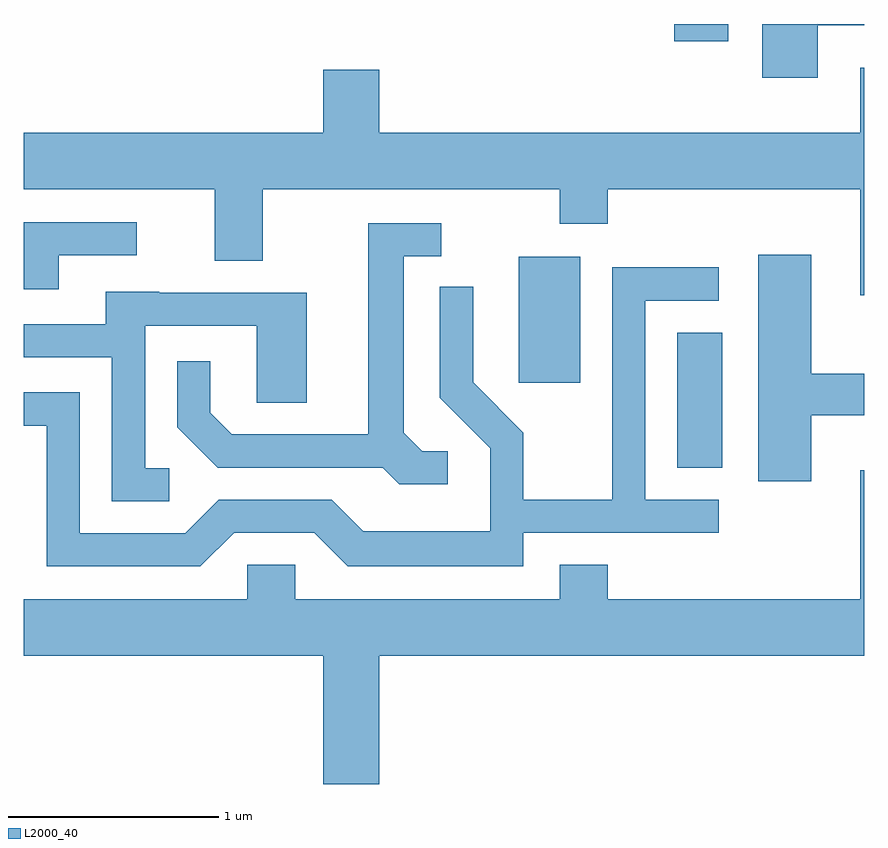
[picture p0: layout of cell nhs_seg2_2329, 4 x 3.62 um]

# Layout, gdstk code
import gdstk
lib = gdstk.Library(unit=1e-6, precision=1e-09)
def R(c, l, rs):  # rectangles x0, y0, x1, y1
    for r in rs: c.add(gdstk.rectangle(r[:2], r[2:], *l))
def P(c, l, *ps):  # polygons
    for p in ps: c.add(gdstk.Polygon(p, *l))
L2000_40 = (2000, 40)

nhs_seg2_2329 = lib.new_cell('nhs_seg2_2329')
R(nhs_seg2_2329, L2000_40, [(256.721,1013.691,256.934,1014.334), (255.966,1014.096,256.259,1014.694), (256.706,1015.721,256.964,1015.802)])
P(nhs_seg2_2329, L2000_40, [(257.389,1015.796),(257.611,1015.796),(257.611,1015.802),(257.126,1015.802),(257.126,1015.546),(257.389,1015.546)],
  [(257.611,1015.594),(257.591,1015.594),(257.591,1015.284),(255.304,1015.284),(255.304,1015.584),(255.036,1015.584),(255.036,1015.284),(253.611,1015.284),(253.611,1015.016),(254.521,1015.016),(254.521,1014.676),(254.749,1014.676),(254.749,1015.016),(256.161,1015.016),(256.161,1014.851),(256.389,1014.851),(256.389,1015.016),(257.591,1015.016),(257.591,1014.511),(257.611,1014.511)],
  [(253.779,1014.701),(254.148,1014.701),(254.148,1014.859),(253.611,1014.859),(253.611,1014.541),(253.779,1014.541)],
  [(255.628,1013.769),(255.507,1013.769),(255.419,1013.857),(255.419,1014.696),(255.598,1014.696),(255.598,1014.854),(255.251,1014.854),(255.251,1013.849),(254.602,1013.849),(254.499,1013.952),(254.499,1014.198),(254.341,1014.198),(254.341,1013.884),(254.534,1013.691),(255.319,1013.691),(255.399,1013.611),(255.628,1013.611)],
  [(257.359,1013.941),(257.611,1013.941),(257.611,1014.139),(257.359,1014.139),(257.359,1014.704),(257.106,1014.704),(257.106,1013.626),(257.359,1013.626)],
  [(254.612,1013.381),(254.994,1013.381),(255.154,1013.221),(255.989,1013.221),(255.989,1013.381),(256.918,1013.381),(256.918,1013.539),(256.569,1013.539),(256.569,1014.486),(256.918,1014.486),(256.918,1014.644),(256.411,1014.644),(256.411,1013.539),(255.989,1013.539),(255.989,1013.857),(255.749,1014.097),(255.749,1014.553),(255.591,1014.553),(255.591,1014.024),(255.831,1013.784),(255.831,1013.389),(255.227,1013.389),(255.077,1013.539),(254.539,1013.539),(254.379,1013.379),(253.879,1013.379),(253.879,1014.049),(253.611,1014.049),(253.611,1013.891),(253.721,1013.891),(253.721,1013.221),(254.452,1013.221)],
  [(254.303,1013.689),(254.189,1013.689),(254.189,1014.366),(254.721,1014.366),(254.721,1014.001),(254.959,1014.001),(254.959,1014.524),(254.255,1014.524),(254.255,1014.529),(254.001,1014.529),(254.001,1014.374),(253.611,1014.374),(253.611,1014.216),(254.031,1014.216),(254.031,1013.531),(254.303,1013.531)],
  [(255.304,1012.796),(257.611,1012.796),(257.611,1013.679),(257.591,1013.679),(257.591,1013.064),(256.389,1013.064),(256.389,1013.229),(256.161,1013.229),(256.161,1013.064),(254.904,1013.064),(254.904,1013.229),(254.676,1013.229),(254.676,1013.064),(253.611,1013.064),(253.611,1012.796),(255.036,1012.796),(255.036,1012.186),(255.304,1012.186)])

lib.write_gds('nhs_seg2_2329.gds')
